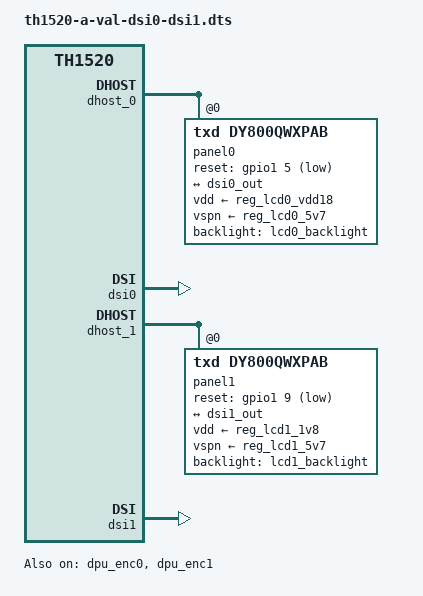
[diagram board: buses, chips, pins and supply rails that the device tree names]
/* SPDX-License-Identifier: GPL-2.0 */
/*
 * Copyright (C) 2021 Alibaba Group Holding Limited.
 */

#include "th1520-a-val.dtsi"

&dpu_enc0 {
	status = "okay";

	ports {
		/* output */
		port@1 {
			reg = <1>;

			enc0_out: endpoint {
				remote-endpoint = <&dsi0_in>;
			};
		};
	};
};

&dhost_0 {
	ports {
		#address-cells = <1>;
		#size-cells = <0>;

		port@0 {
			reg = <0>;

			dsi0_in: endpoint {
				remote-endpoint = <&enc0_out>;
			};
		};

		port@1 {
			reg = <1>;

			dsi0_out: endpoint {
				remote-endpoint = <&panel0_in>;
			};
		};
	};

	panel0@0 {
		compatible = "txd,dy800qwxpab";
		reg = <0>;
		backlight = <&lcd0_backlight>;
		reset-gpio = <&gpio1 5 1>; /* active low */
		vdd-supply = <&reg_lcd0_vdd18>;
		vspn-supply = <&reg_lcd0_5v7>;

		port {
			panel0_in: endpoint {
				remote-endpoint = <&dsi0_out>;
			};
		};
	};
};

&dsi0 {
	status = "okay";
};

&dpu_enc1 {
	status = "okay";

	ports {
		/* output */
		port@1 {
			reg = <1>;

			enc1_out: endpoint {
				remote-endpoint = <&dsi1_in>;
			};
		};
	};
};

&dhost_1 {
	ports {
		#address-cells = <1>;
		#size-cells = <0>;

		port@0 {
			reg = <0>;

			dsi1_in: endpoint {
				remote-endpoint = <&enc1_out>;
			};
		};

		port@1 {
			reg = <1>;

			dsi1_out: endpoint {
				remote-endpoint = <&panel1_in>;
			};
		};
	};

	panel1@0 {
		compatible = "txd,dy800qwxpab";
		reg = <0>;
		backlight = <&lcd1_backlight>;
		reset-gpio = <&gpio1 9 1>; /* active low */
		vdd-supply = <&reg_lcd1_1v8>;
		vspn-supply = <&reg_lcd1_5v7>;

		port {
			panel1_in: endpoint {
				remote-endpoint = <&dsi1_out>;
			};
		};
	};
};

&dsi1 {
	status = "okay";
};
